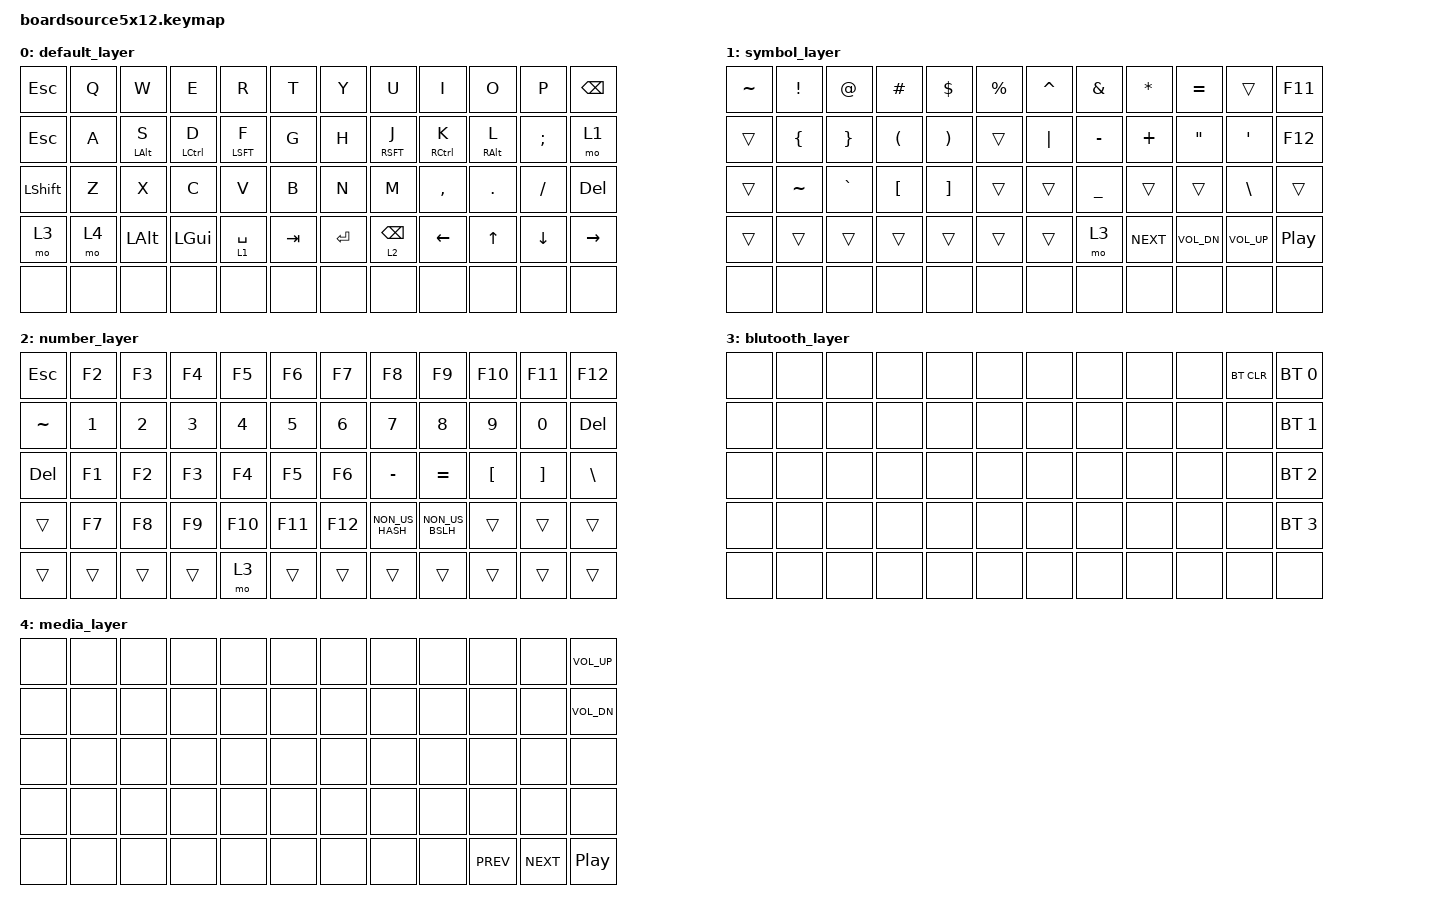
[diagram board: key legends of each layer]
/*
 * Copyright (c) 2021 The ZMK Contributors
 *
 * SPDX-License-Identifier: MIT
 */
 
#include <behaviors.dtsi>
#include <dt-bindings/zmk/keys.h>
#include <dt-bindings/zmk/bt.h>
#include <dt-bindings/zmk/outputs.h>

#define default_layer 0
#define symbol_layer 1
#define number_layer 2
#define blutooth_layer 3
#define media_layer 4

/ {
    behaviors {
        hm: homerow_mods {
            compatible = "zmk,behavior-hold-tap";
            label = "HOMEROW_MODS";
            #binding-cells = <2>;
            tapping-term-ms = <150>;
            quick-tap-ms = <0>;
            flavor = "tap-preferred";
            bindings = <&kp>, <&kp>;
        };
    };

    keymap {
        compatible = "zmk,keymap";

        default_layer {
            // ------------------------------------------------------------------------------------------
            // |  ESC  |  Q   |  W   |  E   |  R   |  T   |   Y   |  U    |  I   |  O   |   P   |  \    |
            // |  ESC  |  A   |  S   |  D   |  F   |  G   |   H   |  J    |  K   |  L   |   ;   |  '    |
            // | SHIFT |  Z   |  X   |  C   |  V   |  B   |   N   |  M    |  ,   |  .   |   /   | ENTER |
            // |ADJUST | NONE | LALT | LGUI | SPACE|  TAB | ENTER |  BSPC | NONE | DARW | UARW  | RARW  |
            // |  ESC  |  1   |  2   |  3   |  4   |  5   |   6   |  7    |  8   |  9   |   0   | BSPC  |


            bindings = <
                &kp ESC    &kp Q        &kp W       &kp E        &kp R        &kp T       &kp Y       &kp U           &kp I       &kp O       &kp P       &kp BSPC
                &kp ESC    &kp A        &hm LALT S  &hm LCTL D   &hm LSFT F   &kp G       &kp H       &hm RSFT J      &hm RCTL K  &hm RALT L  &kp SEMI    &mo 1
                &kp LSHIFT &kp Z        &kp X       &kp C        &kp V        &kp B       &kp N       &kp M           &kp COMMA   &kp DOT     &kp FSLH    &kp DEL
                &mo 3      &mo 4        &kp LALT    &kp LGUI     &lt 1 SPACE  &kp TAB     &kp ENTER   &lt 2 BSPC      &kp LEFT    &kp UP      &kp DOWN    &kp RIGHT 
                &none      &none        &none       &none        &none        &none       &none       &none           &none       &none       &none       &none
            >;
        };


        symbol_layer {
            // ------------------------------------------------------------------------------------------- 
            // |   ~   |  !   |  @   |  #   |  $   |  %   |   ^   |   &   |  *   |  (   |   )   |  DEL  |
            // |       |  F1  |  F2  |  F3  |  F4  |  F5  |   F6  |   _   |  +   |  {   |   }   |   |   |
            // |       |  F7  |  F8  |  F9  |  F10 |  F11 |   F12 | LS(#) |LS(|) |      |       |       |
            // |       |      |      |      |      |      |       |       | NEXT | Vol- | Vol+ | PLAY   |
            // |  ESC  |  F2  |  F3  |  F4  |  F5  |  F6  |   F7  |  F8   |  F9  | F10  |  F11  |  F12  |
            bindings = <
                &kp TILDE &kp EXCL   &kp AT     &kp HASH   &kp DLLR    &kp PRCNT    &kp CARET       &kp AMPS            &kp ASTRK           &kp EQUAL    &trans           &kp F11
                &trans    &kp LBRC   &kp RBRC   &kp LPAR   &kp RPAR    &trans       &kp PIPE        &kp MINUS           &kp PLUS            &kp DQT      &kp APOS         &kp F12
                &trans    &kp TILDE  &kp GRAVE  &kp LBKT   &kp RBKT    &trans       &trans          &kp UNDER           &trans              &trans       &kp BSLH         &trans
                &trans    &trans     &trans     &trans     &trans      &trans       &trans          &mo 3               &kp C_NEXT          &kp C_VOL_DN &kp C_VOL_UP     &kp C_PLAY_PAUSE 
                &none     &none      &none      &none      &none       &none        &none           &none               &none               &none        &none            &none
            >;
        };

        number_layer {
            // ------------------------------------------------------------------------------------------
            // |  ESC  |  F2  |  F3  |  F4  |  F5  |  F6  |  F7   |  F8   |  F9  | F10  |  F11  |  F12  |
            // |   ~   |  1   |  2   |  3   |  4   |  5   |  6    |   7   |  8   |  9   |   0   |  DEL  |
            // |  DEL  |  F1  |  F2  |  F3  |  F4  |  F5  |  F6   |   -   |  =   |  [   |   ]   |   \   |
            // |       |  F7  |  F8  |  F9  |  F10 |  F11 |  F12  |   #   |  |   |      |       |       |
            // |       |      |      |      |      |      |       |       |       |      |      |       |
            bindings = <
                &kp ESC   &kp F2   &kp F3   &kp F4   &kp F5    &kp F6  &kp F7    &kp F8          &kp F9          &kp F10      &kp F11          &kp F12
                &kp TILDE &kp N1   &kp N2   &kp N3   &kp N4    &kp N5  &kp N6    &kp N7          &kp N8          &kp N9       &kp N0           &kp DEL
                &kp DEL   &kp F1   &kp F2   &kp F3   &kp F4    &kp F5  &kp F6    &kp MINUS       &kp EQUAL       &kp LBKT     &kp RBKT         &kp BSLH
                &trans    &kp F7   &kp F8   &kp F9   &kp F10   &kp F11 &kp F12   &kp NON_US_HASH &kp NON_US_BSLH &trans       &trans           &trans
                &trans   &trans   &trans   &trans    &mo 3   &trans &trans &trans    &trans          &trans          &trans       &trans
            >;
        };
        blutooth_layer {
          bindings = <
                &none     &none      &none      &none      &none       &none        &none           &none               &none               &none        &bt BT_CLR       &bt BT_SEL 0
                &none     &none      &none      &none      &none       &none        &none           &none               &none               &none        &none            &bt BT_SEL 1
                &none     &none      &none      &none      &none       &none        &none           &none               &none               &none        &none            &bt BT_SEL 2
                &none     &none      &none      &none      &none       &none        &none           &none               &none               &none        &none            &bt BT_SEL 3
                &none     &none      &none      &none      &none       &none        &none           &none               &none               &none        &none            &none
          >;  
        };
        media_layer {
          bindings = <
                &none     &none      &none      &none      &none       &none        &none           &none               &none               &none        &none            &kp C_VOL_UP
                &none     &none      &none      &none      &none       &none        &none           &none               &none               &none        &none            &kp C_VOL_DN
                &none     &none      &none      &none      &none       &none        &none           &none               &none               &none        &none            &none
                &none     &none      &none      &none      &none       &none        &none           &none               &none               &none        &none            &none
                &none     &none      &none      &none      &none       &none        &none           &none               &none               &kp C_PREV   &kp C_NEXT       &kp C_PLAY_PAUSE
          >;  
        };
    };
};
